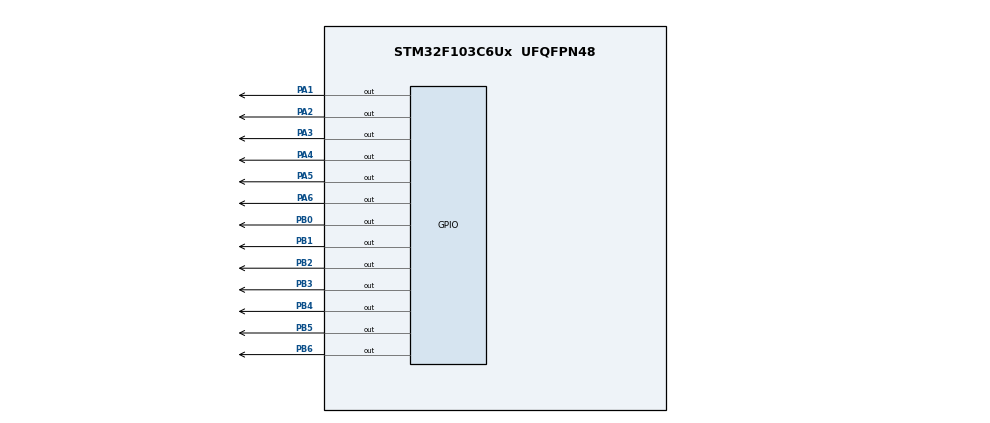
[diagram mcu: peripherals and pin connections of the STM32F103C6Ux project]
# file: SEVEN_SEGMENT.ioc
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Mcu.Family=STM32F1
Mcu.Name=STM32F103C6Ux
Mcu.Package=UFQFPN48
NVIC.PriorityGroup=NVIC_PRIORITYGROUP_4
PA1.Signal=GPIO_Output
PA2.Signal=GPIO_Output
PA3.Signal=GPIO_Output
PA4.Signal=GPIO_Output
PA5.Signal=GPIO_Output
PA6.Signal=GPIO_Output
PB0.Signal=GPIO_Output
PB1.Signal=GPIO_Output
PB2.Signal=GPIO_Output
PB3.Signal=GPIO_Output
PB4.Signal=GPIO_Output
PB5.Signal=GPIO_Output
PB6.Signal=GPIO_Output
ProjectManager.HeapSize=0x200
ProjectManager.StackSize=0x400
ProjectManager.TargetToolchain=STM32CubeIDE
RCC.APB1Freq_Value=8000000
RCC.APB2Freq_Value=8000000
VP_SYS_VS_ND.Mode=No_Debug
board=custom

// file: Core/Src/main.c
/* USER CODE BEGIN Header */
/**
  ******************************************************************************
  * @file           : main.c
  * @brief          : Main program body
  ******************************************************************************
  * @attention
  *
  * <h2><center>&copy; Copyright (c) 2022 STMicroelectronics.
  * All rights reserved.</center></h2>
  *
  * This software component is licensed by ST under BSD 3-Clause license,
  * the "License"; You may not use this file except in compliance with the
  * License. You may obtain a copy of the License at:
  *                        opensource.org/licenses/BSD-3-Clause
  *
  ******************************************************************************
  */
/* USER CODE END Header */
#include "main.h"

void SystemClock_Config(void);
static void MX_GPIO_Init(void);

/* USER CODE BEGIN 0 */
void display7SEG (int input){
	HAL_GPIO_WritePin(GPIOB, GPIO_PIN_0, GPIO_PIN_RESET);	//a
	HAL_GPIO_WritePin(GPIOB, GPIO_PIN_1, GPIO_PIN_RESET);	//b
	HAL_GPIO_WritePin(GPIOB, GPIO_PIN_2, GPIO_PIN_RESET);	//c
	HAL_GPIO_WritePin(GPIOB, GPIO_PIN_3, GPIO_PIN_RESET);	//d
	HAL_GPIO_WritePin(GPIOB, GPIO_PIN_4, GPIO_PIN_RESET);	//e
	HAL_GPIO_WritePin(GPIOB, GPIO_PIN_5, GPIO_PIN_RESET);	//f
	HAL_GPIO_WritePin(GPIOB, GPIO_PIN_6, GPIO_PIN_RESET);	//g

	switch(input){
	case 0:
		HAL_GPIO_TogglePin(GPIOB, GPIO_PIN_6);
		break;
	case 1:
		HAL_GPIO_TogglePin(GPIOB, GPIO_PIN_0);
		HAL_GPIO_TogglePin(GPIOB, GPIO_PIN_3);
		HAL_GPIO_TogglePin(GPIOB, GPIO_PIN_4);
		HAL_GPIO_TogglePin(GPIOB, GPIO_PIN_5);
		HAL_GPIO_TogglePin(GPIOB, GPIO_PIN_6);

		break;
	case 2:
		HAL_GPIO_TogglePin(GPIOB, GPIO_PIN_2);
		HAL_GPIO_TogglePin(GPIOB, GPIO_PIN_5);
		break;
	case 3:
		HAL_GPIO_TogglePin(GPIOB, GPIO_PIN_4);
		HAL_GPIO_TogglePin(GPIOB, GPIO_PIN_5);
		break;
	case 4:
		HAL_GPIO_TogglePin(GPIOB, GPIO_PIN_0);
		HAL_GPIO_TogglePin(GPIOB, GPIO_PIN_3);
		HAL_GPIO_TogglePin(GPIOB, GPIO_PIN_4);
		break;
	case 5:
		HAL_GPIO_TogglePin(GPIOB, GPIO_PIN_1);
		HAL_GPIO_TogglePin(GPIOB, GPIO_PIN_4);
		break;
	case 6:
		HAL_GPIO_TogglePin(GPIOB, GPIO_PIN_1);
		break;
	case 7:
		HAL_GPIO_TogglePin(GPIOB, GPIO_PIN_3);
		HAL_GPIO_TogglePin(GPIOB, GPIO_PIN_4);
		HAL_GPIO_TogglePin(GPIOB, GPIO_PIN_5);
		HAL_GPIO_TogglePin(GPIOB, GPIO_PIN_6);
		break;
	case 9:
		HAL_GPIO_TogglePin(GPIOB, GPIO_PIN_4);
		break;
	default:
		break;

	}
}
/* USER CODE END 0 */

int main(void)
{

  /* MCU Configuration--------------------------------------------------------*/

  /* Reset of all peripherals, Initializes the Flash interface and the Systick. */
  HAL_Init();

  /* Configure the system clock */
  SystemClock_Config();

  /* Initialize all configured peripherals */
  MX_GPIO_Init();

  /* Infinite loop */
  /* USER CODE BEGIN WHILE */

  while (1)
  {
	  	  HAL_GPIO_WritePin(GPIOA, GPIO_PIN_3, SET); //RED
	  	  HAL_GPIO_WritePin(GPIOA, GPIO_PIN_4, SET); //GREEN
	  	  HAL_GPIO_WritePin(GPIOA, GPIO_PIN_1, RESET);
	  	  HAL_GPIO_WritePin(GPIOA, GPIO_PIN_2, RESET);
	  	  HAL_GPIO_WritePin(GPIOA, GPIO_PIN_5, RESET);
	  	  HAL_GPIO_WritePin(GPIOA, GPIO_PIN_6, RESET);
	  	for (int i =5; i>2;i--) {
	  		display7SEG(i);
	  		HAL_Delay(1000);
	  	}

	  	  HAL_GPIO_WritePin(GPIOA, GPIO_PIN_3, SET); //RED
	  	  HAL_GPIO_WritePin(GPIOA, GPIO_PIN_5, SET); //YELLOW
	  	  HAL_GPIO_WritePin(GPIOA, GPIO_PIN_1, RESET);
	  	  HAL_GPIO_WritePin(GPIOA, GPIO_PIN_2, RESET);
	  	  HAL_GPIO_WritePin(GPIOA, GPIO_PIN_4, RESET);
	  	  HAL_GPIO_WritePin(GPIOA, GPIO_PIN_6, RESET);
	  	for (int i =2; i>0;i--) {
	  		display7SEG(i);
	  		HAL_Delay(1000);
	  	}

	  	  HAL_GPIO_WritePin(GPIOA, GPIO_PIN_1, SET); //GREEN
	  	  HAL_GPIO_WritePin(GPIOA, GPIO_PIN_6, SET); //RED
	  	  HAL_GPIO_WritePin(GPIOA, GPIO_PIN_2, RESET);
	  	  HAL_GPIO_WritePin(GPIOA, GPIO_PIN_3, RESET);
	  	  HAL_GPIO_WritePin(GPIOA, GPIO_PIN_4, RESET);
	  	  HAL_GPIO_WritePin(GPIOA, GPIO_PIN_5, RESET);
	  	for (int i =5; i>2;i--) {
	  		display7SEG(i);
	  		HAL_Delay(1000);
	  	}

	  	  HAL_GPIO_WritePin(GPIOA, GPIO_PIN_2, SET); //YELLOW
	  	  HAL_GPIO_WritePin(GPIOA, GPIO_PIN_6, SET); //RED
	  	  HAL_GPIO_WritePin(GPIOA, GPIO_PIN_1, RESET);
	  	  HAL_GPIO_WritePin(GPIOA, GPIO_PIN_3, RESET);
	  	  HAL_GPIO_WritePin(GPIOA, GPIO_PIN_4, RESET);
	  	  HAL_GPIO_WritePin(GPIOA, GPIO_PIN_5, RESET);
	  	for (int i =2; i>0;i--) {
	  		display7SEG(i);
	  		HAL_Delay(1000);
	  	}
    /* USER CODE END WHILE */

  }
}

void SystemClock_Config(void)
{
  RCC_OscInitTypeDef RCC_OscInitStruct = {0};
  RCC_ClkInitTypeDef RCC_ClkInitStruct = {0};

  /** Initializes the RCC Oscillators according to the specified parameters
  * in the RCC_OscInitTypeDef structure.
  */
  RCC_OscInitStruct.OscillatorType = RCC_OSCILLATORTYPE_HSI;
  RCC_OscInitStruct.HSIState = RCC_HSI_ON;
  RCC_OscInitStruct.HSICalibrationValue = RCC_HSICALIBRATION_DEFAULT;
  RCC_OscInitStruct.PLL.PLLState = RCC_PLL_NONE;
  if (HAL_RCC_OscConfig(&RCC_OscInitStruct) != HAL_OK)
  {
    Error_Handler();
  }
  /** Initializes the CPU, AHB and APB buses clocks
  */
  RCC_ClkInitStruct.ClockType = RCC_CLOCKTYPE_HCLK|RCC_CLOCKTYPE_SYSCLK
                              |RCC_CLOCKTYPE_PCLK1|RCC_CLOCKTYPE_PCLK2;
  RCC_ClkInitStruct.SYSCLKSource = RCC_SYSCLKSOURCE_HSI;
  RCC_ClkInitStruct.AHBCLKDivider = RCC_SYSCLK_DIV1;
  RCC_ClkInitStruct.APB1CLKDivider = RCC_HCLK_DIV1;
  RCC_ClkInitStruct.APB2CLKDivider = RCC_HCLK_DIV1;

  if (HAL_RCC_ClockConfig(&RCC_ClkInitStruct, FLASH_LATENCY_0) != HAL_OK)
  {
    Error_Handler();
  }
}

static void MX_GPIO_Init(void)
{
  GPIO_InitTypeDef GPIO_InitStruct = {0};

  /* GPIO Ports Clock Enable */
  __HAL_RCC_GPIOA_CLK_ENABLE();
  __HAL_RCC_GPIOB_CLK_ENABLE();

  /*Configure GPIO pin Output Level */
  HAL_GPIO_WritePin(GPIOA, GPIO_PIN_1|GPIO_PIN_2|GPIO_PIN_3|GPIO_PIN_4
                          |GPIO_PIN_5|GPIO_PIN_6, GPIO_PIN_RESET);

  /*Configure GPIO pin Output Level */
  HAL_GPIO_WritePin(GPIOB, GPIO_PIN_0|GPIO_PIN_1|GPIO_PIN_2|GPIO_PIN_3
                          |GPIO_PIN_4|GPIO_PIN_5|GPIO_PIN_6, GPIO_PIN_RESET);

  /*Configure GPIO pins : PA1 PA2 PA3 PA4
                           PA5 PA6 */
  GPIO_InitStruct.Pin = GPIO_PIN_1|GPIO_PIN_2|GPIO_PIN_3|GPIO_PIN_4
                          |GPIO_PIN_5|GPIO_PIN_6;
  GPIO_InitStruct.Mode = GPIO_MODE_OUTPUT_PP;
  GPIO_InitStruct.Pull = GPIO_NOPULL;
  GPIO_InitStruct.Speed = GPIO_SPEED_FREQ_LOW;
  HAL_GPIO_Init(GPIOA, &GPIO_InitStruct);

  /*Configure GPIO pins : PB0 PB1 PB2 PB3
                           PB4 PB5 PB6 */
  GPIO_InitStruct.Pin = GPIO_PIN_0|GPIO_PIN_1|GPIO_PIN_2|GPIO_PIN_3
                          |GPIO_PIN_4|GPIO_PIN_5|GPIO_PIN_6;
  GPIO_InitStruct.Mode = GPIO_MODE_OUTPUT_PP;
  GPIO_InitStruct.Pull = GPIO_NOPULL;
  GPIO_InitStruct.Speed = GPIO_SPEED_FREQ_LOW;
  HAL_GPIO_Init(GPIOB, &GPIO_InitStruct);

}

void Error_Handler(void)
{
  __disable_irq();
  while (1)
  {
  }
}

/************************ (C) COPYRIGHT STMicroelectronics *****END OF FILE****/
